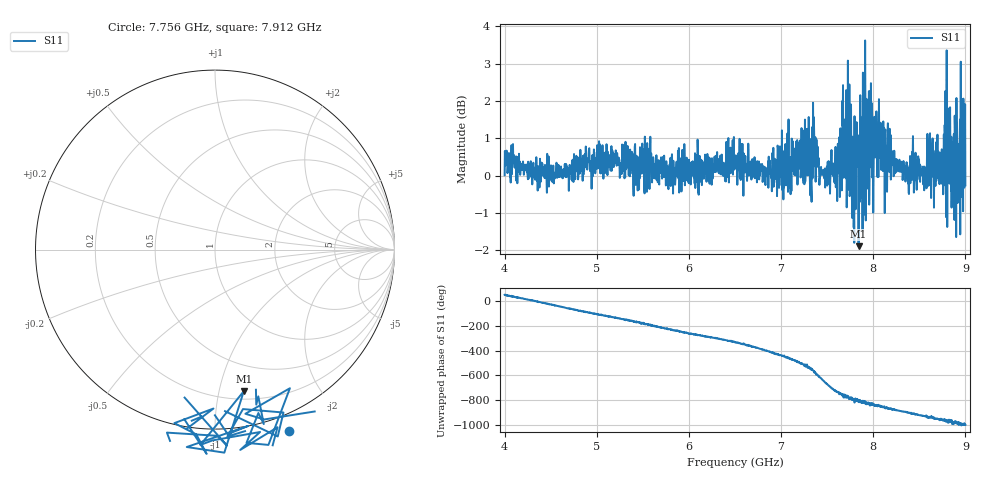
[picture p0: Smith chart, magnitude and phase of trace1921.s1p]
! Created with skrf 1.8.0 (http://scikit-rf.org).
# Hz S RI R 50.0
!freq ReS11 ImS11
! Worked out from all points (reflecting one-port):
!   1601 points, 4 GHz to 9 GHz, reference 50 ohm
!   lowest |S11| = -1.9 dB at 7.841 GHz (marker M1), VSWR 9.25, Z = 13.3 - j59.4 ohm
!   phase of S11 starts at 51 deg and turns -1052 deg over the sweep
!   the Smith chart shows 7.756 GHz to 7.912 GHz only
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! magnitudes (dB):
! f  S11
! 4 GHz  0.0
! 4.625 GHz  -0.1
! 4.897 GHz  0.2
! 5.25 GHz  -0.1
! 5.875 GHz  0.1
! 6.5 GHz  0.2
! 6.825 GHz  0.2
! 7.125 GHz  0.3
! 7.209 GHz  1.0
! 7.306 GHz  0.9
! 7.359 GHz  1.1
! 7.509 GHz  -0.1
! 7.634 GHz  0.6
! 7.684 GHz  1.5
! 7.75 GHz  -0.1
! 7.769 GHz  -0.6
! 7.791 GHz  -1.0
! 7.841 GHz  -1.9
! 7.881 GHz  0.8
! 7.962 GHz  2.3
! 7.981 GHz  0.2
! 8.097 GHz  0.2
! 8.375 GHz  0.0
! 8.738 GHz  0.4
! 8.8 GHz  0.4
! 8.875 GHz  1.1
! 8.972 GHz  0.9
! 9 GHz  -0.3
